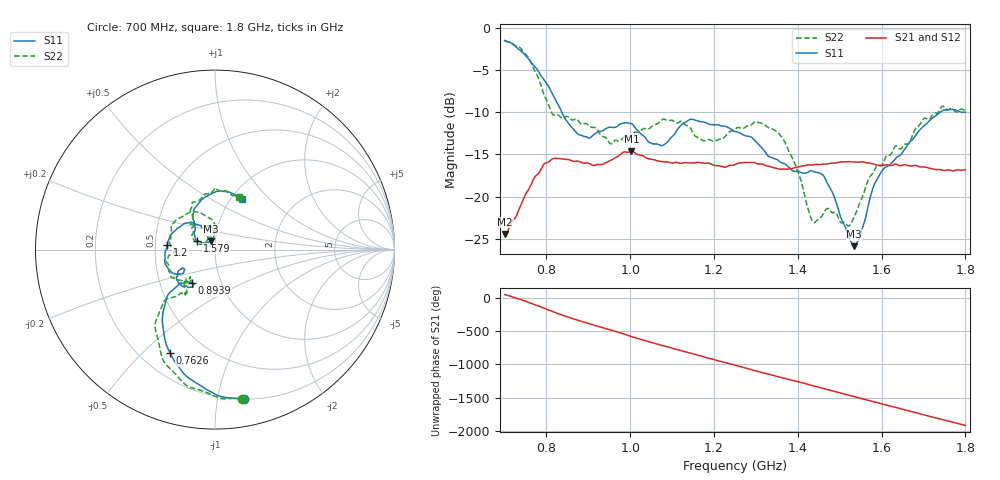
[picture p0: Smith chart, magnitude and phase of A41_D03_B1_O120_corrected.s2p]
! Created with skrf 1.9.0 (http://scikit-rf.org).
# Hz S RI R 50.0
!freq ReS11 ImS11 ReS21 ImS21 ReS12 ImS12 ReS22 ImS22
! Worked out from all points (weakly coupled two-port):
!   1601 points, 700 MHz to 1.8 GHz, reference 50 ohm
!   highest |S21| = -14.63 dB at 1.002 GHz (marker M1); lowest = -24.5 dB at 701.4 MHz (marker M2)
!   lowest |S11| = -25.9 dB at 1.535 GHz (marker M3), VSWR 1.11, Z = 47.6 + j4.33 ohm
!   |S11| at or under -10 dB: 836.8 MHz to 1.739 GHz (902.3 MHz wide, 70.1 % of centre)
!   |S22| runs from -23.5 to -1.5 dB; largest |S21 - S12| = 0.0034
!   S11 on the Smith chart (normalised r, x): 700 MHz: 0.20, -1.19; 762.6 MHz: 0.32, -0.61; 893.9 MHz: 0.73, -0.29; 1.2 GHz: 0.58, +0.03; 1.579 GHz: 0.82, +0.08; 1.8 GHz: 1.13, +0.70
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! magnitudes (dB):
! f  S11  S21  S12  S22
! 700 MHz  -1.4  -24.5  -24.2  -1.5
! 701.4 MHz  -1.5  -24.5  -24.1  -1.5
! 762.6 MHz  -4.0  -18.7  -18.6  -4.0
! 814.8 MHz  -7.9  -15.5  -15.6  -10.2
! 883.6 MHz  -12.7  -16.0  -15.9  -11.4
! 893.9 MHz  -12.9  -16.0  -16.1  -11.3
! 953 MHz  -11.8  -15.7  -15.7  -13.8
! 1.002 GHz  -11.3  -14.6  -14.7  -12.8
! 1.067 GHz  -13.8  -15.8  -15.7  -11.3
! 1.142 GHz  -10.8  -16.0  -16.0  -11.8
! 1.2 GHz  -11.5  -16.3  -16.2  -13.4
! 1.25 GHz  -12.3  -16.2  -16.1  -12.0
! 1.302 GHz  -13.6  -16.1  -16.0  -11.1
! 1.356 GHz  -15.8  -16.7  -16.7  -12.6
! 1.394 GHz  -17.0  -16.6  -16.6  -16.3
! 1.434 GHz  -16.9  -16.3  -16.2  -22.8
! 1.464 GHz  -17.8  -16.1  -16.1  -21.7
! 1.535 GHz  -25.9  -15.9  -15.9  -22.4
! 1.579 GHz  -19.1  -16.1  -16.1  -17.3
! 1.617 GHz  -16.3  -16.3  -16.2  -15.1
! 1.74 GHz  -10.0  -16.8  -16.8  -9.6
! 1.8 GHz  -10.0  -16.8  -16.8  -9.8
